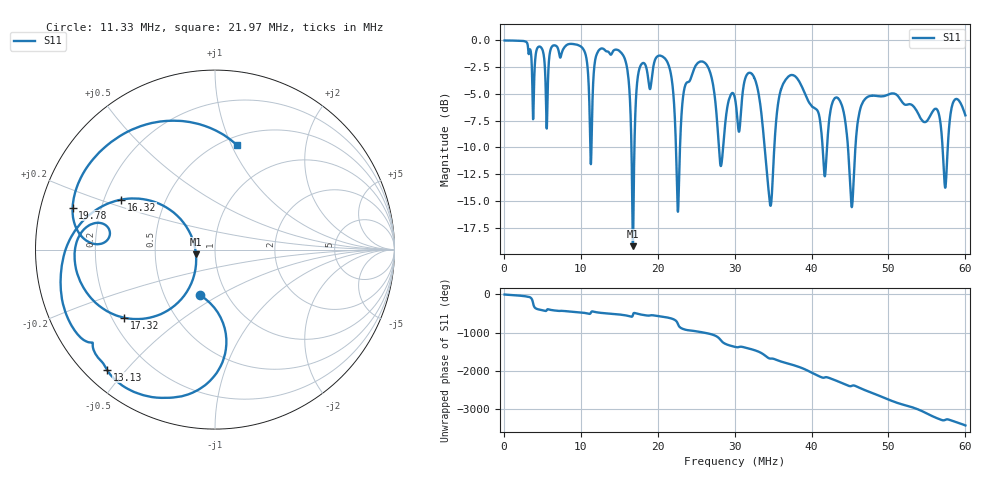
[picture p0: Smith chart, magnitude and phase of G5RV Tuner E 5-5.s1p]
# Hz S RI R 50
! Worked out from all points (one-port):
!   3030 points, 100 kHz to 60 MHz, reference 50 ohm
!   lowest |S11| = -19.2 dB at 16.79 MHz (marker M1), VSWR 1.25, Z = 40.4 - j2.18 ohm
!   |S11| at or under -10 dB: 33.9 MHz to 35.16 MHz (1.258 MHz wide, 3.64 % of centre); 44.74 MHz to 45.7 MHz (962.8 kHz wide, 2.13 % of centre); 57.03 MHz to 57.71 MHz (675.2 kHz wide, 1.18 % of centre)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
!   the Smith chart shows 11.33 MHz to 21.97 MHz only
!   S11 on the Smith chart (normalised r, x): 11.33 MHz: 0.75, -0.41; 13.13 MHz: 0.06, -0.44; 16.32 MHz: 0.27, +0.23; 17.32 MHz: 0.25, -0.31; 19.78 MHz: 0.10, +0.14; 21.97 MHz: 0.58, +1.05
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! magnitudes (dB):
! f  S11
! 100 kHz  0.0
! 7.595 MHz  -1.0
! 10.42 MHz  -0.9
! 11.33 MHz  -11.5
! 13.13 MHz  -0.9
! 15.09 MHz  -1.0
! 16.32 MHz  -4.6
! 16.79 MHz  -19.2
! 17.32 MHz  -4.0
! 19.78 MHz  -1.6
! 21.97 MHz  -4.5
! 22.56 MHz  -15.2
! 25.1 MHz  -2.2
! 28.2 MHz  -11.7
! 30.06 MHz  -5.5
! 32.65 MHz  -3.7
! 34.63 MHz  -15.4
! 35.79 MHz  -5.3
! 37.55 MHz  -3.2
! 41.71 MHz  -12.7
! 43.7 MHz  -5.7
! 45.03 MHz  -13.6
! 46.87 MHz  -5.6
! 52.52 MHz  -6.0
! 56.34 MHz  -6.5
! 57.37 MHz  -13.8
! 58.4 MHz  -5.8
! 60 MHz  -7.0
